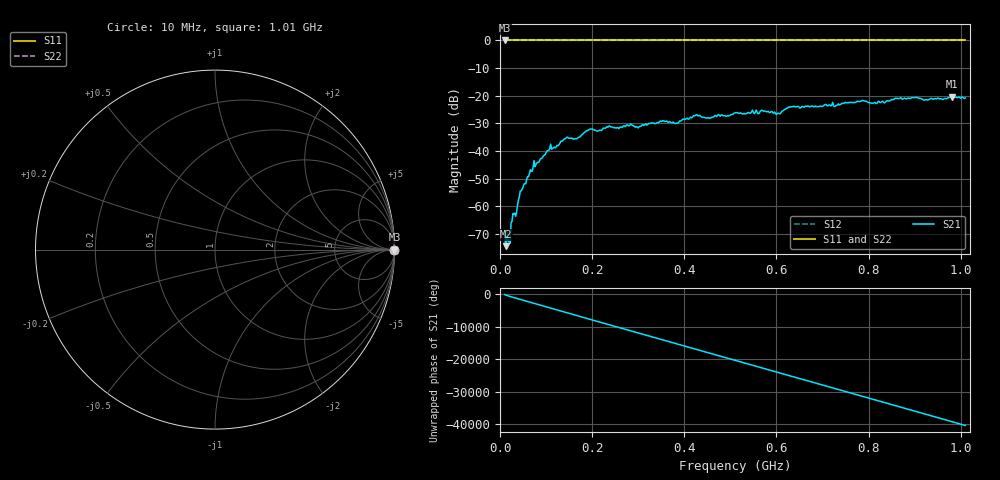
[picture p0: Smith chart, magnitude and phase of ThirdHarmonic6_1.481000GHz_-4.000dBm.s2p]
! 8/16/2025 5:18:22 PM
! C:\ANRITSUVNA\TEMP\TEMP.S2P
! CHANNEL.1
! TR.MEASUREMENT
! RAW.DATA
! RF.CORRECTION.OFF
! AVERAGING.OFF
! IF.BANDWIDTH: 5KHZ
! SWEEPTYPE:  FREQ.SWEEP(Linear)
! Reference Plane Port Info
! PORT:  PORT1  PORT2
! DISTANCE:  0  m  0  m
! TIME:  0  s  0  s
! PHASE.OFFSET:  0  deg.  0  deg.
! LOSS:  0  dB  0  dB
! REF.LOSS:  0  dB  0  dB
! REF.FREQ:  0  Hz  0  Hz
! Power Info
! POWER:  -20  dBm  -20  dBm
! EFF.POWER:  -20  dBm  -20  dBm
! SOURCE.ATTEN:  0  dB  0  dB
! TEST.ATTEN:  0  dB  0  dB
# GHZ S RI R 50.0
! FREQ.GHZ  S11RE  S11IM  S21RE  S21IM  S12RE  S12IM  S22RE  S22IM
!; PortSelection: Port_12
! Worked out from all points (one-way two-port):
!   501 points, 10 MHz to 1.01 GHz, reference 50 ohm
!   highest |S21| = -20.36 dB at 980 MHz (marker M1); lowest = -74.4 dB at 12 MHz (marker M2)
!   lowest |S11| = 0.0 dB at 10 MHz (marker M3)
!   |S11| at or under -10 dB: nowhere
!   |S22| runs from 0.0 to 0.0 dB; largest |S21 - S12| = 1.1
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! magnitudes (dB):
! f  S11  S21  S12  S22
! 10 MHz  0.0  -68.9  0.0  0.0
! 12 MHz  0.0  -74.4  0.0  0.0
! 18 MHz  0.0  -72.9  0.0  0.0
! 22 MHz  0.0  -73.4  0.0  0.0
! 28 MHz  0.0  -62.7  0.0  0.0
! 36 MHz  0.0  -62.2  0.0  0.0
! 44 MHz  0.0  -54.5  0.0  0.0
! 70 MHz  0.0  -47.3  0.0  0.0
! 106 MHz  0.0  -39.7  0.0  0.0
! 142 MHz  0.0  -35.5  0.0  0.0
! 178 MHz  0.0  -34.1  0.0  0.0
! 196 MHz  0.0  -32.0  0.0  0.0
! 344 MHz  0.0  -29.8  0.0  0.0
! 382 MHz  0.0  -30.0  0.0  0.0
! 424 MHz  0.0  -27.2  0.0  0.0
! 510 MHz  0.0  -26.2  0.0  0.0
! 604 MHz  0.0  -26.3  0.0  0.0
! 630 MHz  0.0  -24.1  0.0  0.0
! 678 MHz  0.0  -23.7  0.0  0.0
! 844 MHz  0.0  -21.9  0.0  0.0
! 980 MHz  0.0  -20.4  0.0  0.0
! 1.01 GHz  0.0  -20.8  0.0  0.0
